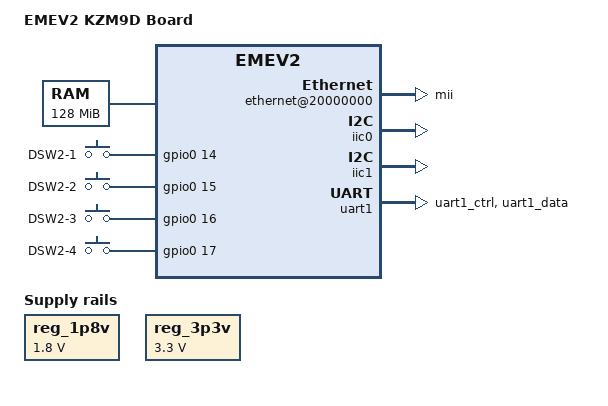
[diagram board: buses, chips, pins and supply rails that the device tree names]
// SPDX-License-Identifier: GPL-2.0
/*
 * Device Tree Source for the KZM9D board
 *
 * Copyright (C) 2013 Renesas Solutions Corp.
 */
/dts-v1/;

#include "emev2.dtsi"
#include <dt-bindings/gpio/gpio.h>
#include <dt-bindings/input/input.h>
#include <dt-bindings/interrupt-controller/irq.h>

/ {
	model = "EMEV2 KZM9D Board";
	compatible = "renesas,kzm9d", "renesas,emev2";

	memory@40000000 {
		device_type = "memory";
		reg = <0x40000000 0x8000000>;
	};

	aliases {
		serial1 = &uart1;
	};

	chosen {
		bootargs = "ignore_loglevel rw root=/dev/nfs ip=on";
		stdout-path = "serial1:115200n8";
	};

	gpio_keys {
		compatible = "gpio-keys";
		key-1 {
			debounce-interval = <50>;
			wakeup-source;
			label = "DSW2-1";
			linux,code = <KEY_1>;
			gpios = <&gpio0 14 GPIO_ACTIVE_HIGH>;
		};
		key-2 {
			debounce-interval = <50>;
			wakeup-source;
			label = "DSW2-2";
			linux,code = <KEY_2>;
			gpios = <&gpio0 15 GPIO_ACTIVE_HIGH>;
		};
		key-3 {
			debounce-interval = <50>;
			wakeup-source;
			label = "DSW2-3";
			linux,code = <KEY_3>;
			gpios = <&gpio0 16 GPIO_ACTIVE_HIGH>;
		};
		key-4 {
			debounce-interval = <50>;
			wakeup-source;
			label = "DSW2-4";
			linux,code = <KEY_4>;
			gpios = <&gpio0 17 GPIO_ACTIVE_HIGH>;
		};
	};

	reg_1p8v: regulator-1p8v {
		compatible = "regulator-fixed";
		regulator-name = "fixed-1.8V";
		regulator-min-microvolt = <1800000>;
		regulator-max-microvolt = <1800000>;
		regulator-always-on;
		regulator-boot-on;
	};

	reg_3p3v: regulator-3p3v {
		compatible = "regulator-fixed";
		regulator-name = "fixed-3.3V";
		regulator-min-microvolt = <3300000>;
		regulator-max-microvolt = <3300000>;
		regulator-always-on;
		regulator-boot-on;
	};

	ethernet@20000000 {
		compatible = "smsc,lan9221", "smsc,lan9115";
		reg = <0x20000000 0x10000>;
		phy-mode = "mii";
		interrupts-extended = <&gpio0 1 IRQ_TYPE_EDGE_RISING>;
		reg-io-width = <4>;
		smsc,irq-active-high;
		smsc,irq-push-pull;
		vddvario-supply = <&reg_1p8v>;
		vdd33a-supply = <&reg_3p3v>;
	};
};

&iic0 {
	status = "okay";
};

&iic1 {
	status = "okay";
};

&pfc {
	uart1_pins: uart1 {
		groups = "uart1_ctrl", "uart1_data";
		function = "uart1";
	};
};

&uart1 {
	pinctrl-0 = <&uart1_pins>;
	pinctrl-names = "default";
	status = "okay";
};
